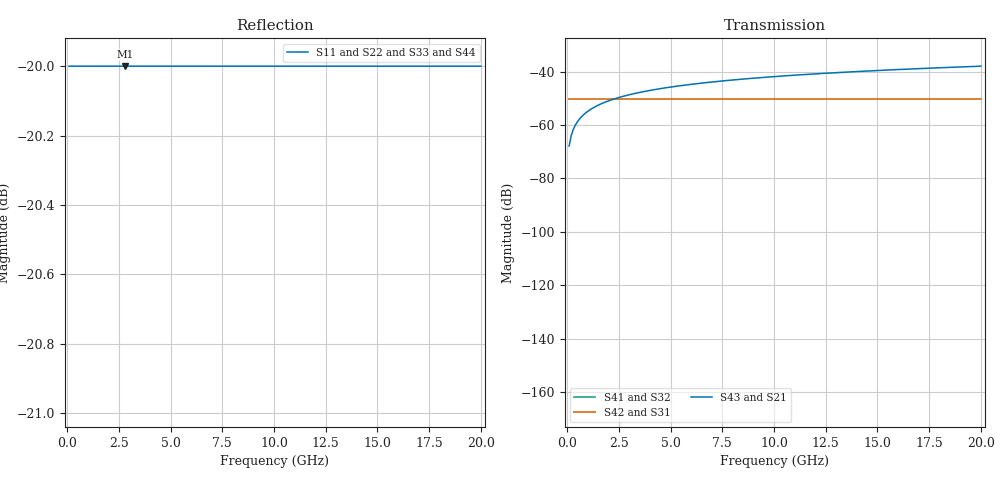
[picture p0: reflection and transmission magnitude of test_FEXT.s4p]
! Generated test file
# GHz S RI R 50
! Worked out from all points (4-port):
!   200 points, 100 MHz to 20 GHz, reference 50 ohm
!   strongest paths, dB at 100 MHz, 5.1 GHz, 10.1 GHz, 15.1 GHz, 20 GHz:
!     S43: -67.9, -45.7, -41.8, -39.6, -38.0
!     S21: -67.9, -45.7, -41.8, -39.6, -38.0
!     S42: -50.5, -50.5, -50.5, -50.5, -50.5
!     S31: -50.5, -50.5, -50.5, -50.5, -50.5
!     S41: -, -, -, -, -
!     S32: -, -, -, -, -
!   lowest |S11| = -20.0 dB at 2.8 GHz (marker M1), VSWR 1.22, Z = 58.7 - j6.56 ohm
!   |S11| at or under -10 dB: start of sweep to end of sweep
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0.1  0.1 -0.00209  0.000233 -0.000329  0 -0.003  0 0
     0.000233 -0.000329  0.1 -0.00209  0 0  0 -0.003
     0 -0.003  0 0  0.1 -0.00209  0.000233 -0.000329
     0 0  0 -0.003  0.000233 -0.000329  0.1 -0.00209
0.3  0.0998 -0.00628  0.000458 -0.000684  0 -0.003  0 0
     0.000458 -0.000684  0.0998 -0.00628  0 0  0 -0.003
     0 -0.003  0 0  0.0998 -0.00628  0.000458 -0.000684
     0 0  0 -0.003  0.000458 -0.000684  0.0998 -0.00628
0.8  0.0986 -0.0167  0.000784 -0.00135  0 -0.003  0 0
     0.000784 -0.00135  0.0986 -0.0167  0 0  0 -0.003
     0 -0.003  0 0  0.0986 -0.0167  0.000784 -0.00135
     0 0  0 -0.003  0.000784 -0.00135  0.0986 -0.0167
2.8  0.0833 -0.0553  0.000959 -0.00338  0 -0.003  0 0
     0.000959 -0.00338  0.0833 -0.0553  0 0  0 -0.003
     0 -0.003  0 0  0.0833 -0.0553  0.000959 -0.00338
     0 0  0 -0.003  0.000959 -0.00338  0.0833 -0.0553
8.7  -0.0249 -0.0969  -0.00329 -0.00656  0 -0.003  0 0
     -0.00329 -0.00656  -0.0249 -0.0969  0 0  0 -0.003
     0 -0.003  0 0  -0.0249 -0.0969  -0.00329 -0.00656
     0 0  0 -0.003  -0.00329 -0.00656  -0.0249 -0.0969
14.5  -0.0995 -0.0105  -0.00952 -0.00377  0 -0.003  0 0
      -0.00952 -0.00377  -0.0995 -0.0105  0 0  0 -0.003
      0 -0.003  0 0  -0.0995 -0.0105  -0.00952 -0.00377
      0 0  0 -0.003  -0.00952 -0.00377  -0.0995 -0.0105
20  -0.05 0.0866  -0.012 0.0039  0 -0.003  0 0
    -0.012 0.0039  -0.05 0.0866  0 0  0 -0.003
    0 -0.003  0 0  -0.05 0.0866  -0.012 0.0039
    0 0  0 -0.003  -0.012 0.0039  -0.05 0.0866
